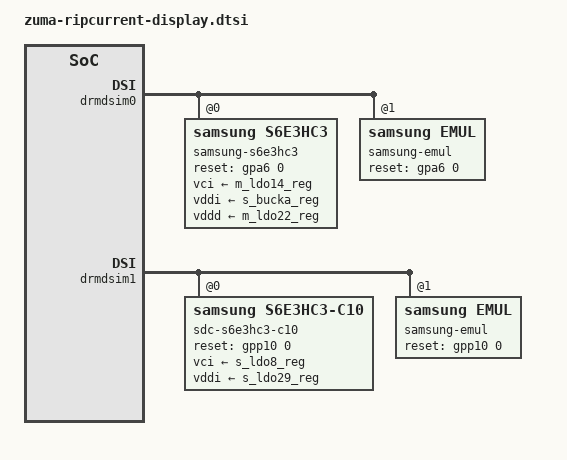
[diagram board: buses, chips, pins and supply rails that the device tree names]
// SPDX-License-Identifier: GPL-2.0-only
/*
 * Display nodes for slider-related boards.
 *
 * Copyright 2022 Google LLC
 *
 */

#include <dt-bindings/gpio/gpio.h>

&drmdsim0 {
	#address-cells = <1>;
	#size-cells = <0>;

	panel@0 {
		compatible = "samsung,s6e3hc3";
		label = "samsung-s6e3hc3";
		channel = <0>;
		//touch = <&spitouch>;

		/* reset, power */
		reset-gpios = <&gpa6 0 GPIO_ACTIVE_HIGH>;
		vci-supply = <&m_ldo14_reg>;
		vddi-supply = <&s_bucka_reg>;
		vddd-supply = <&m_ldo22_reg>;
	};
	panel@1 {
		compatible = "samsung,emul";
		label = "samsung-emul";
		channel = <0>;

		/* reset, power */
		reset-gpios = <&gpa6 0 GPIO_ACTIVE_HIGH>;
	};
};

&drmdsim1 {
	#address-cells = <1>;
	#size-cells = <0>;
	status = "okay";

	panel@0 {
		compatible = "samsung,s6e3hc3-c10";
		label = "sdc-s6e3hc3-c10";
		channel = <0>;
		//touch = <&spitouch>;

		/* reset, power */
		reset-gpios = <&gpp10 0 GPIO_ACTIVE_HIGH>;
		vci-supply = <&s_ldo8_reg>;
		vddi-supply = <&s_ldo29_reg>;
	};
	panel@1 {
		compatible = "samsung,emul";
		label = "samsung-emul";
		channel = <0>;

		/* reset, power */
		reset-gpios = <&gpp10 0 GPIO_ACTIVE_HIGH>;
	};
};
